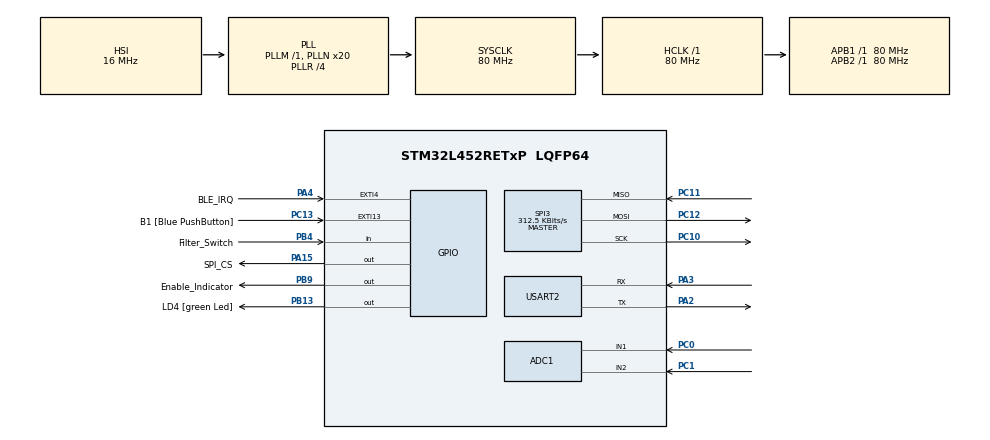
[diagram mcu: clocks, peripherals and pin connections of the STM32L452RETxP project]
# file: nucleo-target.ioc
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ADC1.Channel-0\#ChannelRegularConversion=ADC_CHANNEL_1
ADC1.EnableInjectedConversion=DISABLE
ADC1.NbrOfConversionFlag=1
ADC1.OffsetNumber-0\#ChannelRegularConversion=ADC_OFFSET_NONE
ADC1.Rank-0\#ChannelRegularConversion=1
ADC1.SamplingTime-0\#ChannelRegularConversion=ADC_SAMPLETIME_12CYCLES_5
ADC1.SingleDiff-0\#ChannelRegularConversion=ADC_DIFFERENTIAL_ENDED
ADC1.master=1
ARM.CMSIS.5.6.0.CMSISJjCORE=true
Dma.ADC1.0.Direction=DMA_PERIPH_TO_MEMORY
Dma.ADC1.0.Instance=DMA1_Channel1
Dma.ADC1.0.MemDataAlignment=DMA_MDATAALIGN_HALFWORD
Dma.ADC1.0.MemInc=DMA_MINC_ENABLE
Dma.ADC1.0.Mode=DMA_NORMAL
Dma.ADC1.0.PeriphDataAlignment=DMA_PDATAALIGN_HALFWORD
Dma.ADC1.0.PeriphInc=DMA_PINC_DISABLE
Dma.ADC1.0.Priority=DMA_PRIORITY_MEDIUM
Dma.Request0=ADC1
Dma.Request1=SPI3_RX
Dma.Request2=SPI3_TX
Dma.Request3=USART2_RX
Dma.Request4=USART2_TX
Dma.SPI3_RX.1.Direction=DMA_PERIPH_TO_MEMORY
Dma.SPI3_RX.1.Instance=DMA2_Channel1
Dma.SPI3_RX.1.MemDataAlignment=DMA_MDATAALIGN_BYTE
Dma.SPI3_RX.1.MemInc=DMA_MINC_ENABLE
Dma.SPI3_RX.1.Mode=DMA_NORMAL
Dma.SPI3_RX.1.PeriphDataAlignment=DMA_PDATAALIGN_BYTE
Dma.SPI3_RX.1.PeriphInc=DMA_PINC_DISABLE
Dma.SPI3_RX.1.Priority=DMA_PRIORITY_VERY_HIGH
Dma.SPI3_TX.2.Direction=DMA_MEMORY_TO_PERIPH
Dma.SPI3_TX.2.Instance=DMA2_Channel2
Dma.SPI3_TX.2.MemDataAlignment=DMA_MDATAALIGN_BYTE
Dma.SPI3_TX.2.MemInc=DMA_MINC_ENABLE
Dma.SPI3_TX.2.Mode=DMA_NORMAL
Dma.SPI3_TX.2.PeriphDataAlignment=DMA_PDATAALIGN_BYTE
Dma.SPI3_TX.2.PeriphInc=DMA_PINC_DISABLE
Dma.SPI3_TX.2.Priority=DMA_PRIORITY_HIGH
Dma.USART2_RX.3.Direction=DMA_PERIPH_TO_MEMORY
Dma.USART2_RX.3.Instance=DMA1_Channel6
Dma.USART2_RX.3.MemDataAlignment=DMA_MDATAALIGN_BYTE
Dma.USART2_RX.3.MemInc=DMA_MINC_ENABLE
Dma.USART2_RX.3.Mode=DMA_NORMAL
Dma.USART2_RX.3.PeriphDataAlignment=DMA_PDATAALIGN_BYTE
Dma.USART2_RX.3.PeriphInc=DMA_PINC_DISABLE
Dma.USART2_RX.3.Priority=DMA_PRIORITY_LOW
Dma.USART2_TX.4.Direction=DMA_MEMORY_TO_PERIPH
Dma.USART2_TX.4.Instance=DMA1_Channel7
Dma.USART2_TX.4.MemDataAlignment=DMA_MDATAALIGN_BYTE
Dma.USART2_TX.4.MemInc=DMA_MINC_ENABLE
Dma.USART2_TX.4.Mode=DMA_NORMAL
Dma.USART2_TX.4.PeriphDataAlignment=DMA_PDATAALIGN_BYTE
Dma.USART2_TX.4.PeriphInc=DMA_PINC_DISABLE
Dma.USART2_TX.4.Priority=DMA_PRIORITY_LOW
Mcu.Family=STM32L4
Mcu.Name=STM32L452RETxP
Mcu.Package=LQFP64
NVIC.ADC1_IRQn=true\:1\:0\:true\:false\:true\:true\:true
NVIC.DMA1_Channel1_IRQn=true\:3\:0\:true\:false\:true\:false\:true
NVIC.DMA1_Channel6_IRQn=true\:2\:0\:true\:false\:true\:false\:true
NVIC.DMA1_Channel7_IRQn=true\:1\:0\:true\:false\:true\:false\:true
NVIC.DMA2_Channel1_IRQn=true\:0\:0\:false\:false\:true\:false\:true
NVIC.DMA2_Channel2_IRQn=true\:0\:0\:false\:false\:true\:false\:true
NVIC.EXTI15_10_IRQn=true\:3\:0\:true\:false\:true\:true\:true
NVIC.EXTI4_IRQn=true\:0\:0\:false\:false\:true\:true\:true
NVIC.PriorityGroup=NVIC_PRIORITYGROUP_4
NVIC.SPI3_IRQn=true\:1\:0\:true\:false\:true\:true\:true
NVIC.TIM3_IRQn=true\:2\:0\:true\:false\:true\:true\:true
NVIC.USART2_IRQn=true\:1\:0\:true\:false\:true\:true\:true
PA13\ (JTMS/SWDIO).GPIO_Label=TMS
PA13\ (JTMS/SWDIO).Mode=Serial_Wire
PA13\ (JTMS/SWDIO).Signal=SYS_JTMS-SWDIO
PA14\ (JTCK/SWCLK).GPIO_Label=TCK
PA14\ (JTCK/SWCLK).Mode=Serial_Wire
PA14\ (JTCK/SWCLK).Signal=SYS_JTCK-SWCLK
PA15\ (JTDI).GPIO_Label=SPI_CS
PA15\ (JTDI).PinState=GPIO_PIN_SET
PA15\ (JTDI).Signal=GPIO_Output
PA2.Mode=Asynchronous
PA2.Signal=USART2_TX
PA3.Mode=Asynchronous
PA3.Signal=USART2_RX
PA4.GPIO_Label=BLE_IRQ
PA4.GPIO_ModeDefaultEXTI=GPIO_MODE_IT_RISING_FALLING
PA4.Signal=GPXTI4
PB13.GPIO_Label=LD4 [green Led]
PB13.Signal=GPIO_Output
PB3\ (JTDO/TRACESWO).GPIO_Label=SWO
PB3\ (JTDO/TRACESWO).Signal=SYS_JTDO-SWO
PB4\ (NJTRST).GPIO_Label=Filter_Switch
PB4\ (NJTRST).Signal=GPIO_Input
PB9.GPIO_Label=Enable_Indicator
PB9.Signal=GPIO_Output
PC0.Signal=ADCx_IN1
PC1.Signal=ADCx_IN2
PC10.Mode=Full_Duplex_Master
PC10.Signal=SPI3_SCK
PC11.Mode=Full_Duplex_Master
PC11.Signal=SPI3_MISO
PC12.Mode=Full_Duplex_Master
PC12.Signal=SPI3_MOSI
PC13.GPIO_Label=B1 [Blue PushButton]
PC13.GPIO_ModeDefaultEXTI=GPIO_MODE_IT_FALLING
PC13.GPIO_PuPd=GPIO_NOPULL
PC13.Signal=GPXTI13
PC14-OSC32_IN\ (PC14).Mode=LSE-External-Oscillator
PC14-OSC32_IN\ (PC14).Signal=RCC_OSC32_IN
PC15-OSC32_OUT\ (PC15).Mode=LSE-External-Oscillator
PC15-OSC32_OUT\ (PC15).Signal=RCC_OSC32_OUT
PH0-OSC_IN\ (PH0).GPIO_Label=MCO
PH0-OSC_IN\ (PH0).Mode=HSE-External-Clock-Source
PH0-OSC_IN\ (PH0).Signal=RCC_OSC_IN
PH1-OSC_OUT\ (PH1).Signal=RCC_OSC_OUT
ProjectManager.HeapSize=0x200
ProjectManager.StackSize=0x400
ProjectManager.TargetToolchain=MDK-ARM V5
RCC.ADCFreq_Value=80000000
RCC.AHBFreq_Value=80000000
RCC.APB1Freq_Value=80000000
RCC.APB1TimFreq_Value=80000000
RCC.APB2Freq_Value=80000000
RCC.APB2TimFreq_Value=80000000
RCC.CortexFreq_Value=80000000
RCC.HCLKFreq_Value=80000000
RCC.HSE_VALUE=8000000
RCC.HSI48_VALUE=48000000
RCC.HSI_VALUE=16000000
RCC.MSI_VALUE=4000000
RCC.PLLN=20
RCC.PLLR=RCC_PLLR_DIV4
RCC.PLLSAI1N=10
RCC.PLLSourceVirtual=RCC_PLLSOURCE_HSI
RCC.PREFETCH_ENABLE=1
RCC.SYSCLKFreq_VALUE=80000000
RCC.SYSCLKSource=RCC_SYSCLKSOURCE_PLLCLK
RCC.USBFreq_Value=80000000
RCC.VCOOutputFreq_Value=320000000
SH.ADCx_IN1.0=ADC1_IN1,IN1-Differential
SH.ADCx_IN2.0=ADC1_IN2,IN1-Differential
SPI3.BaudRatePrescaler=SPI_BAUDRATEPRESCALER_256
SPI3.CLKPhase=SPI_PHASE_2EDGE
SPI3.CLKPolarity=SPI_POLARITY_HIGH
SPI3.CalculateBaudRate=312.5 KBits/s
SPI3.DataSize=SPI_DATASIZE_8BIT
SPI3.Direction=SPI_DIRECTION_2LINES
SPI3.Mode=SPI_MODE_MASTER
SPI3.VirtualType=VM_MASTER
TIM3.Period=100
TIM3.Prescaler=80
TIM3.TIM_MasterOutputTrigger=TIM_TRGO_UPDATE
USART2.VirtualMode-Asynchronous=VM_ASYNC
VP_ADC1_Vref_Input.Mode=IN-Vrefint
VP_TIM3_VS_ClockSourceINT.Mode=Internal
board=NUCLEO-L452RE-P

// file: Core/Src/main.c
/* USER CODE BEGIN Header */
/**
  ******************************************************************************
  * @file           : main.c
  * @brief          : Main program body
  ******************************************************************************
  * @attention
  *
  * <h2><center>&copy; Copyright (c) 2019 STMicroelectronics.
  * All rights reserved.</center></h2>
  *
  * This software component is licensed by ST under BSD 3-Clause license,
  * the "License"; You may not use this file except in compliance with the
  * License. You may obtain a copy of the License at:
  *                        opensource.org/licenses/BSD-3-Clause
  *
  ******************************************************************************
  */
/* USER CODE END Header */

#include "main.h"
#include "adc.h"
#include "dma.h"
#include "spi.h"
#include "tim.h"
#include "usart.h"
#include "gpio.h"

/* USER CODE BEGIN Includes */
#include "arm_math.h"
#include "stdio.h"
#include "string.h"
#include "stdbool.h"
#include "stdlib.h"
#include "sw_timers.h"
#include "fir_filter_taps.h"
#include "slld.h"
#include "fvt_detector.h"
#include "r_detector.h"
#include "markers.h"
#include "queue.h"
#include "packet.h"
#include "app_state.h"
/* USER CODE END Includes */

/* USER CODE BEGIN PD */
//Predefined packet, detection and transmission settings
#define CONVERSION_NUM 4
#define DATA_AMOUNT 256
#define BLOCK_SIZE 16		//FIR filter block size
#define FREQ 250.0f

#define MODE_INTERNAL 1
#define MODE_EXTERNAL 0

#define OVER_USART (1u)
#define OVER_BLE	(0u)

#define USE_PACKETS 			(1u)
#define USE_STATE_MACHINE	(0u)

#ifndef UPLOAD
const short* ECG_SAMPLES = (const short*)0x08019000;
#else
extern const short ECG_SAMPLES[];
#endif
//

#if SEND_WAY == OVER_USART

#endif
//

#if SEND_WAY == OVER_BLE
volatile uint8_t expected_message_len = MAX_STRING_LENGTH;
volatile bool exchanged = true;
#endif
//

#ifndef SEND_WAY
#error "Way to send data was not defined!"
#endif
//

#if USE_STATE_MACHINE == 1
#define INIT_RECEIVE_LEN 5
#define DEFAULT_CRC_LEN 2
volatile bool on_process = false;
uint8_t initial_receive_buff[INIT_RECEIVE_LEN] = {0};
#endif
//

const int PRESET_LENGTH = 208800;
extern const int RpeakSamples[];
extern const int RPEAK_LENGTH;
//Predefined settings of Threshold algorithm
//#define THRESHOLD 786000
//#define THRESHOLD 566000
/* USER CODE END PD */

/* USER CODE BEGIN PV */
typedef union {
	float update_buff_f[CONVERSION_NUM];
	uint32_t update_buff_u32[CONVERSION_NUM+1];
	uint8_t update_buff_u8[CONVERSION_NUM*4+sizeof(int)];
}update_value;
//
update_value uv; //simple conversion variable
Queue q_from_spirx;
Queue q_transmission;
uint8_t spi_receive_buff[MAX_STRING_LENGTH];
uint8_t spi_transmit_buff[MAX_STRING_LENGTH];

struct timer t_converter;
struct timer t_sender;
t_fvt_result fvt_result;

volatile int msg_counter	=	0;
volatile int buffer_counter = 0;
volatile int preset_buffer_counter = 0;

volatile int adjusted_data = 0;
volatile int preset_counter = 0;

volatile int data_from_mode = MODE_INTERNAL;

volatile bool OnDataReady = true;
volatile bool OnHaltWork = false;
volatile bool Transmission = false;
volatile int sample_index = 0;

float fvt_container[10] = {0};

int data_insert[DATA_AMOUNT] = {0};		//array to contain data from ADC
int data_onsend[DATA_AMOUNT] = {0};		//array to forward data on transmitter
int marker_onsend[DATA_AMOUNT] = {0};

int data_markers[DATA_AMOUNT] = {0};	//array to contain markers data
int window[DATA_AMOUNT+OVERLAP] = {0};
int window_markers[DATA_AMOUNT+OVERLAP] = {0};
int data_filter[DATA_AMOUNT+OVERLAP];		//array to contain data from filter
static int firStateF32[DATA_AMOUNT + OVERLAP + NUM_TAPS - 1];
static int NUM_BLOCKS = (DATA_AMOUNT+OVERLAP)/BLOCK_SIZE;

//Transmission variables
const char* packet_begin = "ECG";
const char* packet_end = "END\r\n";
const char* packet_delimiter = "::";

char send_str[DATA_AMOUNT];
int markers[CONVERSION_NUM] = {0};
char parsed_markers[CONVERSION_NUM][CONVERSION_NUM];

uint32_t conversion_raw;
HAL_StatusTypeDef ret;
/* USER CODE END PV */

void SystemClock_Config(void);
/* USER CODE BEGIN PFP */
void Thresholding(int* data, int* peak_holder, int threshold, int size);
void ClearBuffers(void);
/* USER CODE END PFP */

/* USER CODE BEGIN 0 */
/**
  * @brief  Period elapsed callback in non blocking mode
  * @param  htim: TIM handle
  * @retval None
  */
void HAL_TIM_PeriodElapsedCallback(TIM_HandleTypeDef *htim)
{
	if(htim->Instance == TIM3)
	{
		t_OnDigitCompleteInterrupt();
	}
}
//

/**
  * @brief  Conversion complete callback in non blocking mode
  * @param  AdcHandle : AdcHandle handle
  * @note   This example shows a simple way to report end of conversion, and
  *         you can add your own implementation.
  * @retval None
  */
void HAL_ADC_ConvCpltCallback(ADC_HandleTypeDef* AdcHandle)
{
	__nop();
}
//

#if SEND_WAY == OVER_USART
/**
  * @brief  Tx Transfer completed callback
  * @param  UartHandle: UART handle.
  * @note   This example shows a simple way to report end of DMA Tx transfer, and
  *         you can add your own implementation.
  * @retval None
  */
void HAL_UART_TxCpltCallback(UART_HandleTypeDef *UartHandle)
{
	__nop();
}
//

void HAL_UART_RxCpltCallback(UART_HandleTypeDef *UartHandle)
{
	if(UartHandle->Instance == huart2.Instance)
	{
		#if USE_STATE_MACHINE == 0 && SEND_WAY == OVER_BLE
		queue_push(&q_from_spirx, spi_receive_buff, MAX_STRING_LENGTH);
		switch(Check_AppState())
		{
			case STATE_REC_COMMAND:
				if(CheckIfPacket(initial_receive_buff))
				{
					expected_message_len = initial_receive_buff[4] + DEFAULT_CRC_LEN;
					//HAL_GPIO_WritePin(SPI_CS_GPIO_Port, SPI_CS_Pin, GPIO_PIN_SET);
					if(initial_receive_buff[5] == TYPE_READ)
						Set_AppState(STATE_READ_DATA);
					else if(initial_receive_buff[5] == TYPE_WRITE)
						Set_AppState(STATE_SEND_DATA);
				}
				break;
			case STATE_READ_DATA:
				queue_push(&q_from_spirx, spi_receive_buff, expected_message_len);
				Set_AppState(STATE_REC_COMMAND);
				break;
		}
		#endif
	}
}
//
#endif
//

#if SEND_WAY == OVER_BLE
void HAL_SPI_TxRxCpltCallback(SPI_HandleTypeDef *hspi)
{
		exchanged = true;
		queue_push(&q_from_spirx, spi_receive_buff, MAX_STRING_LENGTH);
		HAL_GPIO_WritePin(SPI_CS_GPIO_Port, SPI_CS_Pin, GPIO_PIN_SET);
}
//

void HAL_SPI_ErrorCallback(SPI_HandleTypeDef *hspi)
{
	if(hspi->Instance == hspi3.Instance)
	{
		exchanged = true;
		HAL_GPIO_WritePin(SPI_CS_GPIO_Port, SPI_CS_Pin, GPIO_PIN_SET);
	}
}
//

void HAL_SPI_RxCpltCallback(SPI_HandleTypeDef *hspi)
{
	if(hspi->Instance == hspi3.Instance)
	{
		#if USE_STATE_MACHINE == 0
		queue_push(&q_from_spirx, spi_receive_buff, MAX_STRING_LENGTH);
		HAL_GPIO_WritePin(SPI_CS_GPIO_Port, SPI_CS_Pin, GPIO_PIN_SET);
		#else
		switch(Check_AppState())
		{
			case STATE_REC_COMMAND:
				if(CheckIfPacket(initial_receive_buff))
				{
					expected_message_len = initial_receive_buff[3] + DEFAULT_CRC_LEN;
					//HAL_GPIO_WritePin(SPI_CS_GPIO_Port, SPI_CS_Pin, GPIO_PIN_SET);
					if(initial_receive_buff[4] == TYPE_READ)
						Set_AppState(STATE_READ_DATA);
					else if(initial_receive_buff[4] == TYPE_WRITE)
						Set_AppState(STATE_SEND_DATA);
					else
						on_process = true;
				}
				else
				{
					on_process = false;
					HAL_GPIO_WritePin(SPI_CS_GPIO_Port, SPI_CS_Pin, GPIO_PIN_SET);
				}
				break;
			case STATE_READ_DATA:
				queue_push(&q_from_spirx, spi_receive_buff, expected_message_len);
				HAL_GPIO_WritePin(SPI_CS_GPIO_Port, SPI_CS_Pin, GPIO_PIN_SET);
				Set_AppState(STATE_REC_COMMAND);
				break;
		}
		#endif
	}
}
//
#endif
//

void HAL_GPIO_EXTI_Callback(uint16_t GPIO_Pin)
{
	if(GPIO_Pin == GPIO_PIN_13)
	{
		if(!OnHaltWork)
		{
			data_from_mode = (data_from_mode+1)%2;
			buffer_counter = 0;
			preset_buffer_counter = 0;
			preset_counter = 0;
			sample_index = 0;
			ClearBuffers();
		}
		OnHaltWork ? (OnHaltWork = false) : (OnHaltWork = true);
	}

	#if SEND_WAY == OVER_BLE
	if(GPIO_Pin == BLE_IRQ_Pin)
	{
		if(HAL_GPIO_ReadPin(BLE_IRQ_GPIO_Port, BLE_IRQ_Pin) == GPIO_PIN_SET)
		{
			if(queue_isempty(&q_transmission))
			{
				HAL_GPIO_WritePin(SPI_CS_GPIO_Port, SPI_CS_Pin, GPIO_PIN_RESET);
				HAL_SPI_Receive_DMA(&hspi3, spi_receive_buff, MAX_STRING_LENGTH);
			}
			else
			{
				memset(spi_transmit_buff, 0, sizeof(spi_transmit_buff[0])*MAX_STRING_LENGTH);
				queue_get_front(&q_transmission, spi_transmit_buff, 0,  queue_get_frontl(&q_transmission));
				HAL_GPIO_WritePin(SPI_CS_GPIO_Port, SPI_CS_Pin, GPIO_PIN_RESET);
				if(HAL_SPI_TransmitReceive_DMA(&hspi3, spi_transmit_buff, spi_receive_buff, MAX_STRING_LENGTH) != HAL_OK)
					{
						Error_Handler();
					}
				exchanged = false;
				queue_pop(&q_transmission);
			}
		}
	}
	#endif
}
//

void ClearBuffers(void)
{
	memset(window_markers, 0, sizeof(window_markers[0])*(DATA_AMOUNT+OVERLAP));
	memset(window, 0, sizeof(window[0])*(DATA_AMOUNT+OVERLAP));
	memset(data_filter, 0, sizeof(data_filter[0])*(DATA_AMOUNT+OVERLAP));
	memset(data_markers, 0, sizeof(data_markers[0])*(DATA_AMOUNT));
	memset(data_insert, 0, sizeof(data_insert[0])*(DATA_AMOUNT));
}
//

volatile int error_shift = 0;
volatile int preset_tmp = 0;
void t_Converter_callback(void)
{
	if(!OnHaltWork)
	switch(data_from_mode)
	{
		case MODE_EXTERNAL:
		{
			if((HAL_ADC_GetState(&hadc1) & HAL_ADC_STATE_READY) != 0 && buffer_counter < DATA_AMOUNT)
			{
				ret = HAL_ADC_Start_DMA(&hadc1,	&conversion_raw, 1);
				if(ret != HAL_OK)
					__nop();
				//uv.update_buff_f[buffer_counter++] = (float)(conversion_raw&0x0FFF)*1.25f/4096.0f/80.53f;
				//adjusted_data = (float)(conversion_raw&0x0FFF)*1.25f/4096.0f/80.53f;
				adjusted_data = (int)(conversion_raw&0x0FFF)*1.25f/4096.0f*1000000;
				data_insert[buffer_counter++] = adjusted_data;
			}
			else if(buffer_counter >= DATA_AMOUNT)
			{
					memcpy(window, window+DATA_AMOUNT, sizeof(window[0])*OVERLAP);
					memcpy(window+OVERLAP, data_insert, sizeof(data_insert[0])*DATA_AMOUNT);

					memcpy(window_markers, window_markers+DATA_AMOUNT, sizeof(window_markers[0])*OVERLAP);
					//memset(window_markers+OVERLAP, 0, sizeof(data_markers[0])*(DATA_AMOUNT));
					memcpy(window_markers+OVERLAP, data_markers, sizeof(data_markers[0])*(DATA_AMOUNT));
					preset_buffer_counter = 0;
					OnDataReady = false;
			}
			break;
		}
		case MODE_INTERNAL:
		{
			if(preset_buffer_counter < DATA_AMOUNT)
			{
//				ret = HAL_ADC_Start_DMA(&hadc1,	&conversion_raw, 1);
//				if(ret != HAL_OK)
//					__nop();
				if(preset_counter >= PRESET_LENGTH)
				{
					preset_counter = 0;
					preset_buffer_counter = 0;
					sample_index = 0;
					ClearBuffers();
				}
				//adjusted_data = abs(ECG_SAMPLES[preset_counter%PRESET_LENGTH] - 1200);
				adjusted_data = ECG_SAMPLES[preset_counter%PRESET_LENGTH];
				data_insert[preset_buffer_counter] = adjusted_data;

				// SSB
				// Вот здесь и надо заполнять data_markers !
				while(RpeakSamples[sample_index] < preset_counter && sample_index < RPEAK_LENGTH){
					sample_index++;
				}

					//AppendMarker(&data_markers[preset_buffer_counter], MARK_S_PEAK);
					if(RpeakSamples[sample_index] == preset_counter)
					{
						data_markers[preset_buffer_counter] = MARK_S_PEAK;
					}
					else
						data_markers[preset_buffer_counter] = 0;

				preset_buffer_counter++;
				preset_counter++;
			}
			else if(preset_buffer_counter >= DATA_AMOUNT){
					memcpy(window, window+DATA_AMOUNT, sizeof(window[0])*OVERLAP);
					memcpy(window+OVERLAP, data_insert, sizeof(data_insert[0])*DATA_AMOUNT);

					memcpy(window_markers, window_markers+DATA_AMOUNT, sizeof(window_markers[0])*OVERLAP);
					//memset(window_markers+OVERLAP, 0, sizeof(data_markers[0])*(DATA_AMOUNT));
					memcpy(window_markers+OVERLAP, data_markers, sizeof(data_markers[0])*(DATA_AMOUNT));
					preset_buffer_counter = 0;
					OnDataReady = false;
			}

			break;
		}
		default: break;
	}
}
//

volatile int onsend_counter = 0;
volatile int window_mean = 0;
void t_Sender_callback(void)
{
	if((!OnDataReady || OnHaltWork))
		return;

	if(onsend_counter < DATA_AMOUNT)
		{
			memcpy(uv.update_buff_u32, data_onsend+onsend_counter, CONVERSION_NUM*sizeof(data_onsend[0]));
			memcpy(markers, marker_onsend+onsend_counter, CONVERSION_NUM*sizeof(marker_onsend[0]));

			for(int i = 0; i < CONVERSION_NUM; i++)
				ParseMarkers(markers[i], parsed_markers[i], CONVERSION_NUM);

			memset(send_str, 0, DATA_AMOUNT);
			uint8_t send_length = 0;
			#if USE_PACKETS
			uint8_t data_wmarks[CONVERSION_NUM*4+CONVERSION_NUM*4] = {0};
			uint8_t p_markers[CONVERSION_NUM] = {0};
			uint8_t packet_len = 0;
			uint8_t m_len = 0;

			for(int i = CONVERSION_NUM, j = 0; i < CONVERSION_NUM*5; i+=CONVERSION_NUM, j++)
			{
				uint8_t len = ParseMarker_toInt(markers[j], p_markers, CONVERSION_NUM);
				for(int m = 0; m < CONVERSION_NUM; m++)
				{
					data_wmarks[m_len+i+m-4] = uv.update_buff_u8[i+m-4];
				}
				for(int y = 0; y < len; y++)
				{
					data_wmarks[m_len+i+y] = p_markers[y];
				}
				m_len += len;
			}
			packet_len = CONVERSION_NUM*4+m_len;

			send_length = MakePacket(IKM_ECG_TX, (uint8_t*)send_str, data_wmarks, packet_len);
			#else
			sprintf(send_str, "%s %d%s%d%s %d%s %d%s %d%s %s%d%s%s",
				packet_begin,	msg_counter,	packet_delimiter,
											uv.update_buff_u32[0], parsed_markers[0],
											uv.update_buff_u32[1], parsed_markers[1],
											uv.update_buff_u32[2], parsed_markers[2],
											uv.update_buff_u32[3], parsed_markers[3],
																		packet_delimiter, window_mean,
																		packet_delimiter, packet_end);
			send_length = strlen(send_str);
			#endif

			onsend_counter+=CONVERSION_NUM;
			msg_counter++;
			#if SEND_WAY == OVER_BLE
			HAL_GPIO_WritePin(SPI_CS_GPIO_Port, SPI_CS_Pin, GPIO_PIN_RESET);
			queue_push(&q_transmission, (uint8_t*)send_str, send_length);
			#elif SEND_WAY == OVER_USART
			ret = HAL_UART_Transmit_DMA(&huart2, (uint8_t*)send_str, send_length);
			if(ret == HAL_OK)
			{
				HAL_GPIO_TogglePin(LD4_GPIO_Port, LD4_Pin);
			}
			#endif
		}
}
//

#if SEND_WAY == OVER_BLE
void HandleQueues(void)
{
	if(exchanged == true)
		{
			if(!queue_isempty(&q_transmission))
				{
					memset(spi_transmit_buff, 0, sizeof(spi_transmit_buff[0])*MAX_STRING_LENGTH);
					queue_get_front(&q_transmission, spi_transmit_buff, 0,  queue_get_frontl(&q_transmission));
					while(HAL_DMA_GetState(hspi3.hdmarx) != HAL_DMA_STATE_READY);
					HAL_GPIO_WritePin(SPI_CS_GPIO_Port, SPI_CS_Pin, GPIO_PIN_RESET);
					exchanged = false;
					if(HAL_SPI_TransmitReceive_DMA(&hspi3, spi_transmit_buff, spi_receive_buff, MAX_STRING_LENGTH) == HAL_OK)
						{
							HAL_GPIO_TogglePin(LD4_GPIO_Port, LD4_Pin);
						}
					queue_pop(&q_transmission);
				}
		}

	if(!queue_isempty(&q_from_spirx))
	{
		queue_pop(&q_from_spirx);
	}
}
//
#endif

//void AppendPresetMarkers(void)
//{
	//Версия Сергея
////	while( //&&
////				RpeakSamples[sample_index] <= preset_counter + DATA_AMOUNT &&
////							sample_index < RPEAK_LENGTH)
////	{
////			if (RpeakSamples[sample_index] >= preset_counter) {
////					data_markers[RpeakSamples[sample_index] - preset_counter] = MARK_S_PEAK;
////
////				}
////    	sample_index = (sample_index+1)%RPEAK_LENGTH;
////   }
// Моя версия
//	if(preset_counter == RpeakSamples[sample_index])
//		{
//			AppendMarker(&data_markers[(RpeakSamples[sample_index]+OVERLAP)%DATA_AMOUNT], MARK_S_PEAK);
//			sample_index = (sample_index+1)%RPEAK_LENGTH;
//		}
//}
//
/* USER CODE END 0 */

int main(void)
{

  /* MCU Configuration--------------------------------------------------------*/

  /* Reset of all peripherals, Initializes the Flash interface and the Systick. */
  HAL_Init();

  /* Configure the system clock */
  SystemClock_Config();

  /* Initialize all configured peripherals */
  MX_GPIO_Init();
  MX_DMA_Init();
  MX_ADC1_Init();
  MX_USART2_UART_Init();
  MX_TIM3_Init();
  MX_SPI3_Init();
  /* USER CODE BEGIN 2 */
	HAL_TIM_Base_Start_IT(&htim3);
	Timer_set(&t_converter, FREQ, &t_Converter_callback, true, true, true);
	Timer_set(&t_sender, FREQ/4.0f, &t_Sender_callback, true, true, true);
	fvt_InitDetector(fvt_container, 10, marker_onsend, DATA_AMOUNT, FREQ, 0.9f, 4);

	arm_fir_instance_q31 S;
	arm_fir_init_q31(&S, NUM_TAPS, &firCoeffs32[0], &firStateF32[0], BLOCK_SIZE);

	HAL_GPIO_WritePin(Enable_Indicator_GPIO_Port, Enable_Indicator_Pin, GPIO_PIN_SET);

	queue_init(&q_from_spirx);
	queue_init(&q_transmission);
  /* USER CODE END 2 */

  /* Infinite loop */
  /* USER CODE BEGIN WHILE */
	int counter = 0;
	volatile int out = 0;
	int rest = 0;
  while (1)
  {
		t_OnDigitCompleteContinuous();
		#if SEND_WAY == OVER_BLE
		if(!OnHaltWork)
			HandleQueues();
		#endif

		#if USE_STATE_MACHINE
		if(OnHaltWork && on_process == false)
		{
			switch(Check_AppState())
			{
				case STATE_REC_COMMAND:
					HAL_GPIO_WritePin(SPI_CS_GPIO_Port, SPI_CS_Pin, GPIO_PIN_RESET);
					#if SEND_WAY == OVER_BLE
					while(HAL_DMA_GetState(hspi3.hdmarx) == HAL_DMA_STATE_BUSY);
					HAL_SPI_Receive_DMA(&hspi3, initial_receive_buff, INIT_RECEIVE_LEN);
					#elif	SEND_WAY == OVER_USART
					HAL_UART_Receive_DMA(&hspi3, initial_receive_buff, INIT_RECEIVE_LEN);
					#endif
					on_process = true;
					break;
				case STATE_READ_DATA:
					HAL_SPI_Receive_DMA(&hspi3, spi_receive_buff, expected_message_len);
					on_process = true;
					break;
				default:
					break;
			}
		}
		#endif
		//

		if(!OnDataReady && onsend_counter >= DATA_AMOUNT)
		{
			if (buffer_counter >= DATA_AMOUNT && data_from_mode == MODE_EXTERNAL)
				buffer_counter = 0;		//позволяем записывать новый массив
			if (preset_buffer_counter >= DATA_AMOUNT && data_from_mode == MODE_INTERNAL)
				preset_buffer_counter = 0;

			if(HAL_GPIO_ReadPin(Filter_Switch_GPIO_Port, Filter_Switch_Pin) == GPIO_PIN_RESET)
			{
				//AdaptiveThresholding(window, window_markers+OVERLAP/2, DATA_AMOUNT);
				AdaptiveThresholding_high(window, window_markers+OVERLAP/2, DATA_AMOUNT,
					FREQ, 0.2, 0.3, 0.2);
				memcpy(data_onsend, window+OVERLAP/2, sizeof(data_onsend[0])*DATA_AMOUNT);
				memcpy(marker_onsend, window_markers+OVERLAP/2, sizeof(marker_onsend[0])*DATA_AMOUNT);
				int sum_tmp = 0;
				for(int i = 0; i < DATA_AMOUNT; i++)
				{
					sum_tmp += data_onsend[i];
				}
				window_mean = sum_tmp/DATA_AMOUNT;
				fvt_result = fvt_SeekForFVT();
				if(fvt_result.found == FVT_BEGIN)
					AppendMarker(&marker_onsend[fvt_result.index], MARK_FVT_START);
				else if(fvt_result.found == FVT_FINISH)
					AppendMarker(&marker_onsend[fvt_result.index], MARK_FVT_FINISH);
				else if(fvt_result.found == FVT_ONGOING)
					AppendMarker(&marker_onsend[fvt_result.index], MARK_FVT_ONGOING);
			}
			else
			{
				for(counter = 0; counter < NUM_BLOCKS; counter++)
				{
					arm_fir_q31(&S, window + (counter * BLOCK_SIZE), data_filter + (counter * BLOCK_SIZE), BLOCK_SIZE);
				}
				AdaptiveThresholding(data_filter, window_markers+OVERLAP/2, DATA_AMOUNT);
				memcpy(data_onsend, data_filter+OVERLAP/2, sizeof(data_onsend[0])*DATA_AMOUNT);
				memcpy(marker_onsend, window_markers+OVERLAP/2, sizeof(marker_onsend[0])*DATA_AMOUNT);
			}
			AppendMarker(&marker_onsend[0], MARK_WINDOW);
			onsend_counter = 0;
			OnDataReady = true;
		}
    /* USER CODE END WHILE */

  }
}

void SystemClock_Config(void)
{
  RCC_OscInitTypeDef RCC_OscInitStruct = {0};
  RCC_ClkInitTypeDef RCC_ClkInitStruct = {0};
  RCC_PeriphCLKInitTypeDef PeriphClkInit = {0};

  /** Initializes the CPU, AHB and APB busses clocks
  */
  RCC_OscInitStruct.OscillatorType = RCC_OSCILLATORTYPE_HSI;
  RCC_OscInitStruct.HSIState = RCC_HSI_ON;
  RCC_OscInitStruct.HSICalibrationValue = RCC_HSICALIBRATION_DEFAULT;
  RCC_OscInitStruct.PLL.PLLState = RCC_PLL_ON;
  RCC_OscInitStruct.PLL.PLLSource = RCC_PLLSOURCE_HSI;
  RCC_OscInitStruct.PLL.PLLM = 1;
  RCC_OscInitStruct.PLL.PLLN = 20;
  RCC_OscInitStruct.PLL.PLLP = RCC_PLLP_DIV7;
  RCC_OscInitStruct.PLL.PLLQ = RCC_PLLQ_DIV2;
  RCC_OscInitStruct.PLL.PLLR = RCC_PLLR_DIV4;
  if (HAL_RCC_OscConfig(&RCC_OscInitStruct) != HAL_OK)
  {
    Error_Handler();
  }
  /** Initializes the CPU, AHB and APB busses clocks
  */
  RCC_ClkInitStruct.ClockType = RCC_CLOCKTYPE_HCLK|RCC_CLOCKTYPE_SYSCLK
                              |RCC_CLOCKTYPE_PCLK1|RCC_CLOCKTYPE_PCLK2;
  RCC_ClkInitStruct.SYSCLKSource = RCC_SYSCLKSOURCE_PLLCLK;
  RCC_ClkInitStruct.AHBCLKDivider = RCC_SYSCLK_DIV1;
  RCC_ClkInitStruct.APB1CLKDivider = RCC_HCLK_DIV1;
  RCC_ClkInitStruct.APB2CLKDivider = RCC_HCLK_DIV1;

  if (HAL_RCC_ClockConfig(&RCC_ClkInitStruct, FLASH_LATENCY_4) != HAL_OK)
  {
    Error_Handler();
  }
  PeriphClkInit.PeriphClockSelection = RCC_PERIPHCLK_USART2|RCC_PERIPHCLK_ADC;
  PeriphClkInit.Usart2ClockSelection = RCC_USART2CLKSOURCE_PCLK1;
  PeriphClkInit.AdcClockSelection = RCC_ADCCLKSOURCE_PLLSAI1;
  PeriphClkInit.PLLSAI1.PLLSAI1Source = RCC_PLLSOURCE_HSI;
  PeriphClkInit.PLLSAI1.PLLSAI1M = 1;
  PeriphClkInit.PLLSAI1.PLLSAI1N = 10;
  PeriphClkInit.PLLSAI1.PLLSAI1P = RCC_PLLP_DIV7;
  PeriphClkInit.PLLSAI1.PLLSAI1Q = RCC_PLLQ_DIV2;
  PeriphClkInit.PLLSAI1.PLLSAI1R = RCC_PLLR_DIV2;
  PeriphClkInit.PLLSAI1.PLLSAI1ClockOut = RCC_PLLSAI1_ADC1CLK;
  if (HAL_RCCEx_PeriphCLKConfig(&PeriphClkInit) != HAL_OK)
  {
    Error_Handler();
  }
  /** Configure the main internal regulator output voltage
  */
  if (HAL_PWREx_ControlVoltageScaling(PWR_REGULATOR_VOLTAGE_SCALE1) != HAL_OK)
  {
    Error_Handler();
  }
}

void Error_Handler(void)
{
}

/************************ (C) COPYRIGHT STMicroelectronics *****END OF FILE****/
